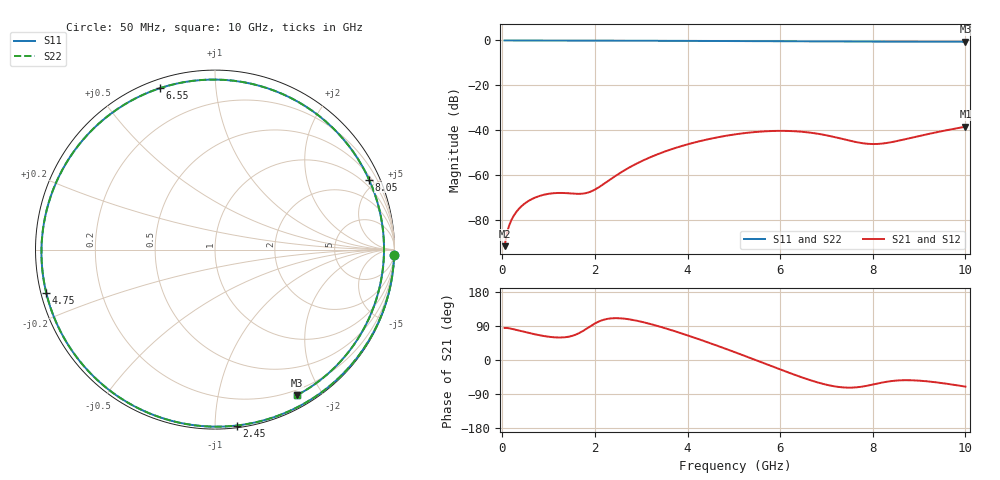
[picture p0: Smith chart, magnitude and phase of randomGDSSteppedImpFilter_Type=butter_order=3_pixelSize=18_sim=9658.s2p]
! freq	dB(S11)	phase(S11)	dB(S12)	phase(S12)
!  dB(S21)	phase(S21)	dB(S22)	phase(S22)
!S-par simulation data
#  GHz  S  DB  R 50
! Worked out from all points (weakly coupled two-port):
!   200 points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, 50 MHz to 10 GHz, reference 50 ohm
!   highest |S21| = -38.40 dB at 10 GHz (marker M1); lowest = -91.6 dB at 50 MHz (marker M2)
!   lowest |S11| = -0.6 dB at 10 GHz (marker M3), VSWR 27.97, Z = 6.99 - j85.1 ohm
!   |S11| at or under -10 dB: nowhere
!   |S22| runs from -0.6 to 0.0 dB; largest |S21 - S12| = 0
!   S11 on the Smith chart (normalised r, x): 50 MHz: 4, -68; 2.45 GHz: 0.01, -1.13; 4.75 GHz: 0.02, -0.13; 6.55 GHz: 0.04, +0.72; 8.05 GHz: 0.64, +4.52; 10 GHz: 0.14, -1.70
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0.05  -0.01 -1.7  -91.59 84.5  -91.59 84.5  -0.01 -1.7
0.2  -0.02 -6.8  -79.82 82.3  -79.82 82.3  -0.02 -6.8
0.45  -0.02 -15.4  -73.17 75.0  -73.17 75.0  -0.02 -15.4
0.8  -0.03 -27.3  -69.27 65.4  -69.27 65.4  -0.03 -27.3
1.15  -0.05 -39.2  -67.95 59.6  -67.95 59.6  -0.05 -39.2
1.75  -0.08 -59.4  -68.17 77.2  -68.17 77.2  -0.08 -59.4
2  -0.09 -67.8  -66.40 96.3  -66.40 96.3  -0.09 -67.8
2.45  -0.11 -82.9  -60.25 110.4  -60.25 110.4  -0.11 -83.0
3.4  -0.16 -115.4  -50.30 88.1  -50.30 88.1  -0.16 -115.5
4.05  -0.20 -138.7  -45.98 62.9  -45.98 62.9  -0.20 -138.7
4.75  -0.26 -165.7  -42.74 32.9  -42.74 32.9  -0.26 -165.7
5.05  -0.29 -178.1  -41.75 19.4  -41.75 19.4  -0.29 -178.2
5.8  -0.37 147.7  -40.34 -15.5  -40.34 -15.5  -0.37 147.6
6.55  -0.44 108.8  -40.82 -49.2  -40.82 -49.2  -0.44 108.7
6.7  -0.46 100.5  -41.19 -55.1  -41.19 -55.1  -0.46 100.4
7.3  -0.49 66.4  -43.62 -71.7  -43.62 -71.7  -0.49 66.3
7.7  -0.51 43.7  -45.49 -71.4  -45.49 -71.4  -0.50 43.6
8.05  -0.51 24.5  -46.13 -63.5  -46.13 -63.5  -0.51 24.4
8.35  -0.52 8.8  -45.49 -56.5  -45.49 -56.5  -0.52 8.7
9.05  -0.54 -24.1  -42.33 -54.9  -42.33 -54.9  -0.54 -24.1
9.5  -0.57 -42.5  -40.37 -61.0  -40.37 -61.0  -0.57 -42.5
10  -0.62 -60.6  -38.40 -70.3  -38.40 -70.3  -0.62 -60.7
